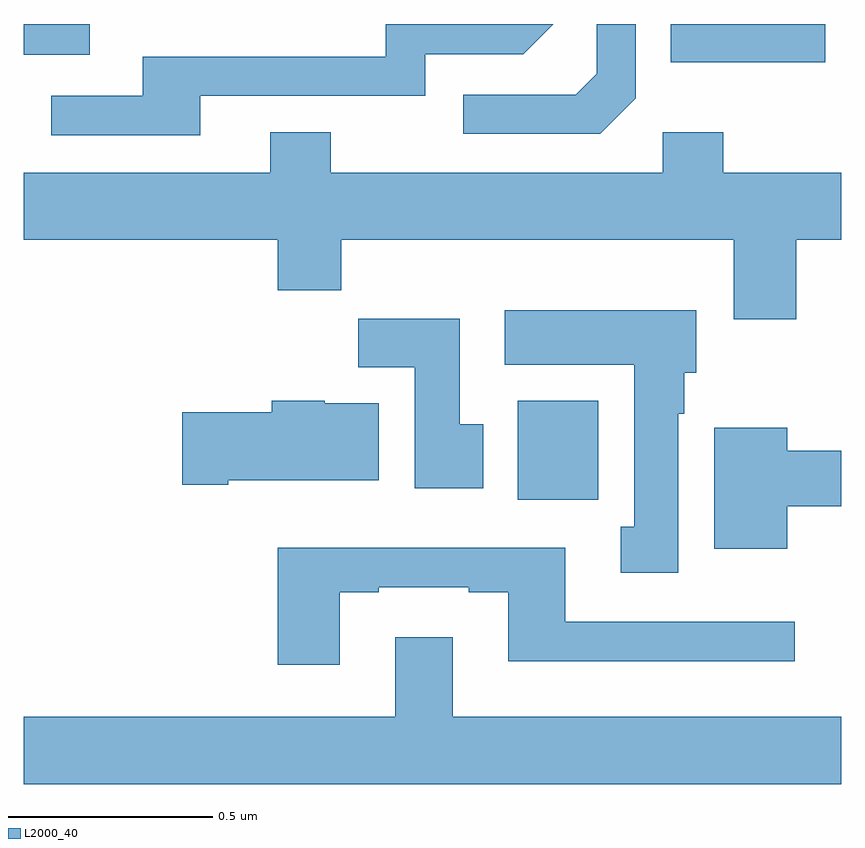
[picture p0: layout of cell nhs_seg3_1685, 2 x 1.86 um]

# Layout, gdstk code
import gdstk
lib = gdstk.Library(unit=1e-6, precision=1e-09)
def R(c, l, rs):  # rectangles x0, y0, x1, y1
    for r in rs: c.add(gdstk.rectangle(r[:2], r[2:], *l))
def P(c, l, *ps):  # polygons
    for p in ps: c.add(gdstk.Polygon(p, *l))
L2000_40 = (2000, 40)

nhs_seg3_1685 = lib.new_cell('nhs_seg3_1685')
R(nhs_seg3_1685, L2000_40, [(132.209,744.236,132.406,744.478), (132.583,745.307,132.961,745.4), (131,745.325,131.161,745.4)])
P(nhs_seg3_1685, L2000_40, [(132.498,745.218),(132.498,745.4),(132.402,745.4),(132.402,745.278),(132.351,745.227),(132.075,745.227),(132.075,745.131),(132.411,745.131)],
  [(131.431,745.224),(131.982,745.224),(131.982,745.326),(132.222,745.326),(132.296,745.4),(131.886,745.4),(131.886,745.32),(131.291,745.32),(131.291,745.224),(131.067,745.224),(131.067,745.128),(131.431,745.128)],
  [(132.89,744.872),(133,744.872),(133,745.036),(132.711,745.036),(132.711,745.135),(132.564,745.135),(132.564,745.036),(131.751,745.036),(131.751,745.135),(131.603,745.135),(131.603,745.036),(131,745.036),(131,744.872),(131.621,744.872),(131.621,744.748),(131.777,744.748),(131.777,744.872),(132.737,744.872),(132.737,744.678),(132.89,744.678)],
  [(132.601,744.446),(132.616,744.446),(132.616,744.546),(132.646,744.546),(132.646,744.7),(132.177,744.7),(132.177,744.566),(132.494,744.566),(132.494,744.17),(132.461,744.17),(132.461,744.057),(132.601,744.057)],
  [(132.124,744.42),(132.067,744.42),(132.067,744.679),(131.818,744.679),(131.818,744.56),(131.957,744.56),(131.957,744.264),(132.124,744.264)],
  [(131.5,744.284),(131.869,744.284),(131.869,744.472),(131.736,744.472),(131.736,744.478),(131.606,744.478),(131.606,744.45),(131.388,744.45),(131.388,744.272),(131.5,744.272)],
  [(132.868,744.22),(133,744.22),(133,744.356),(132.868,744.356),(132.868,744.412),(132.689,744.412),(132.689,744.116),(132.868,744.116)],
  [(131.773,744.009),(131.869,744.009),(131.869,744.021),(132.089,744.021),(132.089,744.009),(132.185,744.009),(132.185,743.84),(132.886,743.84),(132.886,743.937),(132.325,743.937),(132.325,744.118),(131.621,744.118),(131.621,743.832),(131.773,743.832)],
  [(133,743.704),(132.049,743.704),(132.049,743.899),(131.909,743.899),(131.909,743.704),(131,743.704),(131,743.54),(133,743.54)])

lib.write_gds('nhs_seg3_1685.gds')
